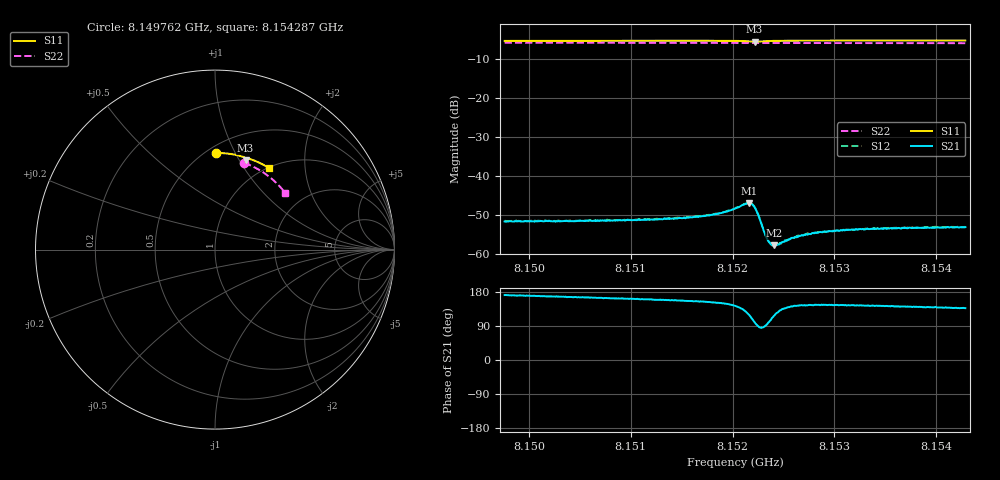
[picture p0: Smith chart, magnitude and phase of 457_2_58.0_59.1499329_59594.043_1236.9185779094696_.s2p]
#  HZ  S  RI  R  50.00
! Rohde & Schwarz Vector Network Analyzer
! Rohde-Schwarz,ZNB20-2Port,1311601062101988,3.16
! Created: UTC 3/21/2024, 1:10:48 AM
! freq[Hz]  re:S11  im:S11  re:S21  im:S21  re:S12  im:S12  re:S22  im:S22
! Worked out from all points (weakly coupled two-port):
!   401 points, 8.149762 GHz to 8.154287 GHz, reference 50 ohm
!   highest |S21| = -46.95 dB at 8.15216 GHz (marker M1); lowest = -57.7 dB at 8.152409 GHz (marker M2)
!   lowest |S11| = -5.6 dB at 8.152217 GHz (marker M3), VSWR 3.22, Z = 38.6 + j53.2 ohm
!   |S11| at or under -10 dB: nowhere
!   |S22| runs from -6.0 to -5.9 dB; largest |S21 - S12| = 0.00011
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8.1497619e9  0.00761 0.5378  -0.00259 0.000396  -0.00263 0.00046  0.1628 0.4831
8.1505198e9  0.0603 0.5357  -0.00258 0.000675  -0.0026 0.000723  0.2076 0.4644
8.1512777e9  0.1129 0.5283  -0.00262 0.00103  -0.0026 0.00107  0.2504 0.4414
8.1517528e9  0.1465 0.5203  -0.00281 0.00142  -0.00281 0.00146  0.276 0.425
8.1518773e9  0.1556 0.5173  -0.00291 0.00165  -0.00288 0.00173  0.2825 0.4205
8.1520243e9  0.1669 0.5119  -0.00306 0.0023  -0.00306 0.00236  0.2902 0.415
8.1521148e9  0.1728 0.5056  -0.00285 0.00327  -0.00286 0.00332  0.2946 0.4113
8.1521601e9  0.1734 0.5011  -0.00222 0.0039  -0.00221 0.00396  0.2968 0.4096
8.152194e9  0.1718 0.4985  -0.00134 0.00412  -0.00128 0.0042  0.2982 0.4083
8.1522167e9  0.17 0.4983  -0.000667 0.00393  -0.000616 0.004  0.2995 0.4074
8.1522506e9  0.1683 0.5002  3.79e-05 0.00323  9.2e-05 0.00327  0.3008 0.4063
8.1523071e9  0.1703 0.5051  0.000106 0.00198  0.000159 0.00204  0.3039 0.4041
8.1523411e9  0.1733 0.5066  -0.000127 0.00155  -9.51e-05 0.00156  0.3055 0.4029
8.152375e9  0.1765 0.5073  -0.000361 0.0013  -0.000393 0.00131  0.3072 0.4018
8.152409e9  0.1796 0.5077  -0.000592 0.00115  -0.000601 0.00115  0.3089 0.4003
8.1524542e9  0.1835 0.5073  -0.000817 0.00105  -0.000816 0.00107  0.3113 0.3986
8.1525673e9  0.1927 0.5055  -0.00121 0.000991  -0.00121 0.00102  0.3169 0.394
8.1526352e9  0.1978 0.504  -0.00132 0.000993  -0.00137 0.00104  0.3202 0.3911
8.1527823e9  0.2082 0.5005  -0.00153 0.00108  -0.00152 0.00109  0.3272 0.385
8.1530877e9  0.2284 0.4925  -0.00169 0.00118  -0.00166 0.00119  0.3413 0.3719
8.1535402e9  0.2571 0.4789  -0.00168 0.00131  -0.00169 0.00135  0.3612 0.3514
8.1542868e9  0.3022 0.4533  -0.00162 0.00152  -0.00161 0.00154  0.3913 0.3156
